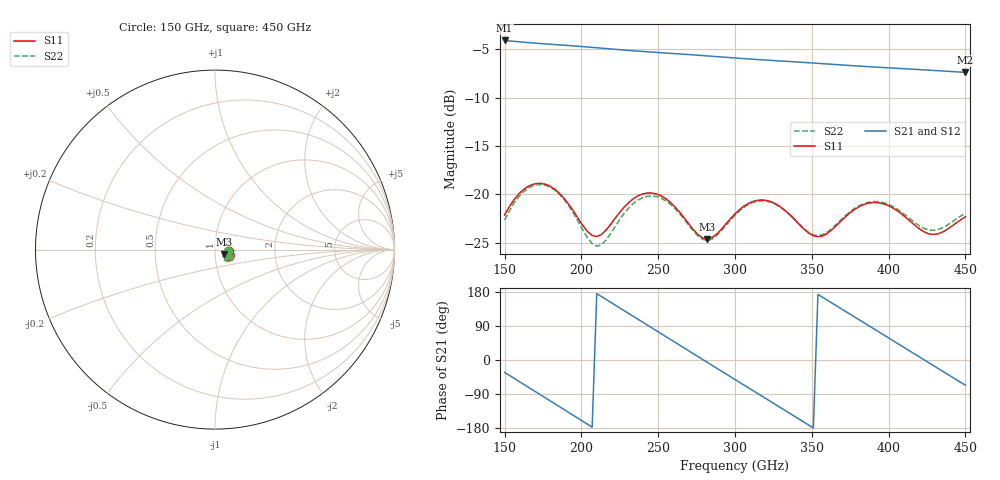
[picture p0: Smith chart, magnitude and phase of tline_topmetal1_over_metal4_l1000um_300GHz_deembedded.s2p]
! Created with skrf 2.2.0 (http://scikit-rf.org).
# GHz S DB R 50.0
! Port[1] = P1
! Port[2] = P2
!freq dBS11 angS11 dBS21 angS21 dBS12 angS12 dBS22 angS22
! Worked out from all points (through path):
!   101 points, 150 GHz to 450 GHz, reference 50 ohm
!   highest |S21| = -4.07 dB at 150 GHz (marker M1); lowest = -7.4 dB at 450 GHz (marker M2)
!   group delay of S21, straight-line fit = 6.98 ps
!   lowest |S11| = -24.6 dB at 282 GHz (marker M3), VSWR 1.13, Z = 55.5 - j2.88 ohm
!   |S11| at or under -10 dB: start of sweep to end of sweep
!   |S22| runs from -25.3 to -19.0 dB; largest |S21 - S12| = 6.4e-14
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150  -22.11 -5.4  -4.07 -32.7  -4.07 -32.7  -22.64 -6.1
162  -19.53 -11.7  -4.25 -63.1  -4.25 -63.1  -19.77 -12.5
174  -18.85 -25.6  -4.40 -93.5  -4.40 -93.5  -18.97 -27.3
186  -19.93 -38.5  -4.53 -123.9  -4.53 -123.9  -20.03 -41.6
201  -23.23 -39.6  -4.71 -162.0  -4.71 -162.0  -23.69 -45.0
213  -24.14 -19.6  -4.87 167.6  -4.87 167.6  -25.21 -22.0
231  -20.80 -13.3  -5.10 122.2  -5.10 122.2  -21.36 -12.0
252  -20.15 -33.3  -5.34 69.3  -5.34 69.3  -20.40 -32.5
267  -22.44 -41.3  -5.50 31.5  -5.50 31.5  -22.58 -41.2
282  -24.60 -26.1  -5.67 -6.3  -5.67 -6.3  -24.75 -26.6
300  -22.00 -13.3  -5.88 -51.5  -5.88 -51.5  -22.14 -13.6
312  -20.70 -21.0  -6.02 -81.5  -6.02 -81.5  -20.81 -21.2
324  -20.78 -31.5  -6.14 -111.6  -6.14 -111.6  -20.85 -31.8
339  -22.62 -38.5  -6.28 -149.2  -6.28 -149.2  -22.62 -38.8
351  -24.27 -30.5  -6.41 -179.3  -6.41 -179.3  -24.17 -31.0
363  -23.66 -17.3  -6.54 150.6  -6.54 150.6  -23.52 -18.4
378  -21.53 -17.4  -6.69 113.2  -6.69 113.2  -21.42 -18.9
390  -20.83 -26.1  -6.81 83.2  -6.81 83.2  -20.72 -27.5
402  -21.32 -35.0  -6.92 53.3  -6.92 53.3  -21.18 -36.3
414  -22.76 -38.6  -7.03 23.3  -7.03 23.3  -22.52 -39.8
426  -24.06 -31.8  -7.14 -6.7  -7.14 -6.7  -23.66 -33.6
450  -22.30 -20.8  -7.37 -66.6  -7.37 -66.6  -21.94 -24.5
